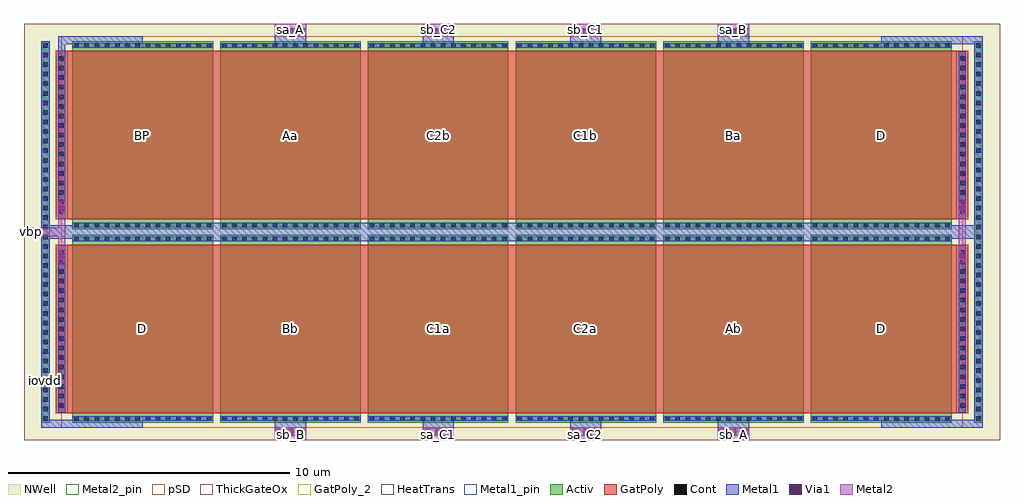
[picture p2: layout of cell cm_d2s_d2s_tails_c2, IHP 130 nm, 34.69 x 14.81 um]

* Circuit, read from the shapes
.subckt cm_d2s_d2s_tails_c2 iovdd sa_A sa_B sa_C1 sa_C2 sb_A sb_B sb_C1 sb_C2 vbp
XM1 iovdd vbp iovdd iovdd sg13_hv_pmos w=5u l=6u m=3
XM2 vbp vbp iovdd iovdd sg13_hv_pmos w=5u l=6u
XM3 iovdd vbp sb_B iovdd sg13_hv_pmos w=5u l=6u
XM4 sa_A vbp iovdd iovdd sg13_hv_pmos w=5u l=6u
XM5 iovdd vbp sa_C1 iovdd sg13_hv_pmos w=5u l=6u
XM6 sb_C2 vbp iovdd iovdd sg13_hv_pmos w=5u l=6u
XM7 iovdd vbp sa_C2 iovdd sg13_hv_pmos w=5u l=6u
XM8 sb_C1 vbp iovdd iovdd sg13_hv_pmos w=5u l=6u
XM9 iovdd vbp sb_A iovdd sg13_hv_pmos w=5u l=6u
XM10 sa_B vbp iovdd iovdd sg13_hv_pmos w=5u l=6u
.ends

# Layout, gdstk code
from math import pi, radians
import gdstk
lib = gdstk.Library(unit=1e-6, precision=1e-09)
def R(c, l, rs):  # rectangles x0, y0, x1, y1
    for r in rs: c.add(gdstk.rectangle(r[:2], r[2:], *l))
def A(c, l, x, y, w, h, nx, ny, dx, dy):  # array of equal rectangles
    R(c, l, [(x+i*dx, y+j*dy, x+i*dx+w, y+j*dy+h) for i in range(nx) for j in range(ny)])
Activ = (1, 0)
GatPoly = (5, 0)
GatPoly_2 = (5, 2)
Cont = (6, 0)
Metal1 = (8, 0)
Metal1_pin = (8, 2)
Metal2 = (10, 0)
Metal2_pin = (10, 2)
pSD = (14, 0)
Via1 = (19, 0)
NWell = (31, 0)
ThickGateOx = (44, 0)
HeatTrans = (51, 0)

cm_d2s_pmoshv_w5_l6 = lib.new_cell('cm_d2s_pmosHV_w5_l6')
R(cm_d2s_pmoshv_w5_l6, Activ, [(0,0,0.3,0.3), (0,0,6.68,5), (6.38,0,6.68,0.3)])
R(cm_d2s_pmoshv_w5_l6, GatPoly, [(0.34,-0.18,6.34,5.18)])
R(cm_d2s_pmoshv_w5_l6, GatPoly_2, [(0.34,-0.18,6.34,5.18)])
A(cm_d2s_pmoshv_w5_l6, Cont, 0.07, 0.07, 0.16, 0.16, 1, 4, 0, 0.36)
A(cm_d2s_pmoshv_w5_l6, Cont, 6.45, 0.07, 0.16, 0.16, 1, 4, 0, 0.36)
A(cm_d2s_pmoshv_w5_l6, Cont, 0.07, 1.515, 0.16, 0.16, 1, 3, 0, 0.36)
A(cm_d2s_pmoshv_w5_l6, Cont, 6.45, 1.515, 0.16, 0.16, 1, 3, 0, 0.36)
A(cm_d2s_pmoshv_w5_l6, Cont, 0.07, 2.6, 0.16, 0.16, 1, 3, 0, 0.36)
A(cm_d2s_pmoshv_w5_l6, Cont, 6.45, 2.6, 0.16, 0.16, 1, 3, 0, 0.36)
A(cm_d2s_pmoshv_w5_l6, Cont, 0.07, 3.685, 0.16, 0.16, 1, 3, 0, 0.36)
A(cm_d2s_pmoshv_w5_l6, Cont, 6.45, 3.685, 0.16, 0.16, 1, 3, 0, 0.36)
R(cm_d2s_pmoshv_w5_l6, Cont, [(0.07,4.77,0.23,4.93), (6.45,4.77,6.61,4.93)])
R(cm_d2s_pmoshv_w5_l6, Metal1, [(0.07,0,0.23,5), (6.45,0,6.61,5)])
R(cm_d2s_pmoshv_w5_l6, Metal1_pin, [(0.07,0,0.23,5), (6.45,0,6.61,5)])
R(cm_d2s_pmoshv_w5_l6, pSD, [(-0.18,-0.4,6.86,5.4)])
R(cm_d2s_pmoshv_w5_l6, NWell, [(-0.62,-0.62,7.3,5.62)])
R(cm_d2s_pmoshv_w5_l6, ThickGateOx, [(-0.62,-0.62,7.3,5.62)])
R(cm_d2s_pmoshv_w5_l6, HeatTrans, [(0.34,-0.18,6.34,5.18)])
cm_d2s_pmoshv_w5_l6.add(gdstk.Label('pmosHV', (3.34,2.5), layer=63, texttype=0))
cm_d2s_pmoshv_w5_l6.add(gdstk.Label('pmos', (3.34,2.5), layer=51, texttype=0))

cm_d2s_d2s_tails_c2 = lib.new_cell('cm_d2s_d2s_tails_c2')
R(cm_d2s_d2s_tails_c2, Activ, [(0.62,0.62,0.92,14.19), (33.77,0.62,34.07,14.19)])
R(cm_d2s_d2s_tails_c2, GatPoly, [(1.12,0.96,1.72,6.96), (32.97,0.96,33.57,6.96), (1.12,7.85,1.72,13.85), (32.97,7.85,33.57,13.85)])
A(cm_d2s_d2s_tails_c2, Cont, 0.69, 0.695, 0.16, 0.16, 1, 40, 0, 0.34)
A(cm_d2s_d2s_tails_c2, Cont, 33.84, 0.695, 0.16, 0.16, 1, 40, 0, 0.34)
A(cm_d2s_d2s_tails_c2, Cont, 1.26, 1.16, 0.16, 0.16, 1, 17, 0, 0.34)
A(cm_d2s_d2s_tails_c2, Cont, 33.27, 1.16, 0.16, 0.16, 1, 17, 0, 0.34)
A(cm_d2s_d2s_tails_c2, Cont, 1.26, 8.05, 0.16, 0.16, 1, 17, 0, 0.34)
A(cm_d2s_d2s_tails_c2, Cont, 33.27, 8.05, 0.16, 0.16, 1, 17, 0, 0.34)
A(cm_d2s_d2s_tails_c2, Metal1, 8.915, 0.155, 1.11, 0.695, 4, 2, 5.25, 13.805)
R(cm_d2s_d2s_tails_c2, Metal1, [(0.62,0.45,4.22,0.74), (30.47,0.45,34.07,0.74), (0.62,0.62,0.92,14.19), (33.77,0.62,34.07,14.19), (1.21,0.98,1.47,6.94), (33.22,0.98,33.48,6.94), (1.72,7.07,32.97,7.74), (0.62,7.16,34.07,7.65), (1.21,7.87,1.47,13.83), (33.22,7.87,33.48,13.83), (1.21,13.83,1.47,14.36), (1.21,14.07,4.22,14.36), (30.47,14.07,34.07,14.36)])
R(cm_d2s_d2s_tails_c2, Metal1_pin, [(0.62,1.12,0.92,3.12)])
A(cm_d2s_d2s_tails_c2, Metal2, 8.915, 0, 1.11, 0.445, 4, 2, 5.25, 14.365)
R(cm_d2s_d2s_tails_c2, Metal2, [(1.21,6.29,1.47,8.52), (33.22,6.29,33.48,8.52), (0,7.255,1.47,7.555)])
A(cm_d2s_d2s_tails_c2, Metal2_pin, 8.915, 0, 1.11, 0.445, 4, 2, 5.25, 14.365)
R(cm_d2s_d2s_tails_c2, Metal2_pin, [(0,7.255,0.5,7.555)])
A(cm_d2s_d2s_tails_c2, Via1, 8.965, 0.205, 0.19, 0.19, 3, 2, 0.41, 14.21)
A(cm_d2s_d2s_tails_c2, Via1, 14.215, 0.205, 0.19, 0.19, 3, 2, 0.41, 14.21)
A(cm_d2s_d2s_tails_c2, Via1, 19.465, 0.205, 0.19, 0.19, 3, 2, 0.41, 14.21)
A(cm_d2s_d2s_tails_c2, Via1, 24.715, 0.205, 0.19, 0.19, 3, 2, 0.41, 14.21)
R(cm_d2s_d2s_tails_c2, Via1, [(1.245,6.45,1.435,6.64), (33.255,6.45,33.445,6.64), (1.245,8.17,1.435,8.36), (33.255,8.17,33.445,8.36)])
R(cm_d2s_d2s_tails_c2, NWell, [(0,0,34.69,14.81)])
R(cm_d2s_d2s_tails_c2, ThickGateOx, [(0,0,34.69,14.81)])
cm_d2s_d2s_tails_c2.add(gdstk.Reference(cm_d2s_pmoshv_w5_l6, (22.47,7.51), rotation=pi/2))
cm_d2s_d2s_tails_c2.add(gdstk.Reference(cm_d2s_pmoshv_w5_l6, (27.72,7.51), rotation=pi/2))
cm_d2s_d2s_tails_c2.add(gdstk.Reference(cm_d2s_pmoshv_w5_l6, (32.97,7.51), rotation=pi/2))
cm_d2s_d2s_tails_c2.add(gdstk.Reference(cm_d2s_pmoshv_w5_l6, (1.72,7.3), rotation=3*pi/2))
cm_d2s_d2s_tails_c2.add(gdstk.Reference(cm_d2s_pmoshv_w5_l6, (6.97,7.3), rotation=3*pi/2))
cm_d2s_d2s_tails_c2.add(gdstk.Reference(cm_d2s_pmoshv_w5_l6, (12.22,7.3), rotation=3*pi/2))
cm_d2s_d2s_tails_c2.add(gdstk.Reference(cm_d2s_pmoshv_w5_l6, (1.72,7.51), rotation=pi/2, x_reflection=True))
cm_d2s_d2s_tails_c2.add(gdstk.Reference(cm_d2s_pmoshv_w5_l6, (6.97,7.51), rotation=pi/2, x_reflection=True))
cm_d2s_d2s_tails_c2.add(gdstk.Reference(cm_d2s_pmoshv_w5_l6, (12.22,7.51), rotation=pi/2, x_reflection=True))
cm_d2s_d2s_tails_c2.add(gdstk.Reference(cm_d2s_pmoshv_w5_l6, (22.47,7.3), rotation=3*pi/2, x_reflection=True))
cm_d2s_d2s_tails_c2.add(gdstk.Reference(cm_d2s_pmoshv_w5_l6, (27.72,7.3), rotation=3*pi/2, x_reflection=True))
cm_d2s_d2s_tails_c2.add(gdstk.Reference(cm_d2s_pmoshv_w5_l6, (32.97,7.3), rotation=3*pi/2, x_reflection=True))
cm_d2s_d2s_tails_c2.add(gdstk.Label('D', (4.22,3.96), layer=63, texttype=0))
cm_d2s_d2s_tails_c2.add(gdstk.Label('Bb', (9.47,3.96), layer=63, texttype=0))
cm_d2s_d2s_tails_c2.add(gdstk.Label('C1a', (14.72,3.96), layer=63, texttype=0))
cm_d2s_d2s_tails_c2.add(gdstk.Label('C2a', (19.97,3.96), layer=63, texttype=0))
cm_d2s_d2s_tails_c2.add(gdstk.Label('Ab', (25.22,3.96), layer=63, texttype=0))
cm_d2s_d2s_tails_c2.add(gdstk.Label('D', (30.47,3.96), layer=63, texttype=0))
cm_d2s_d2s_tails_c2.add(gdstk.Label('BP', (4.22,10.85), layer=63, texttype=0))
cm_d2s_d2s_tails_c2.add(gdstk.Label('Aa', (9.47,10.85), layer=63, texttype=0))
cm_d2s_d2s_tails_c2.add(gdstk.Label('C2b', (14.72,10.85), layer=63, texttype=0))
cm_d2s_d2s_tails_c2.add(gdstk.Label('C1b', (19.97,10.85), layer=63, texttype=0))
cm_d2s_d2s_tails_c2.add(gdstk.Label('Ba', (25.22,10.85), layer=63, texttype=0))
cm_d2s_d2s_tails_c2.add(gdstk.Label('D', (30.47,10.85), layer=63, texttype=0))
cm_d2s_d2s_tails_c2.add(gdstk.Label('vbp', (0.25,7.405), layer=10, texttype=25))
cm_d2s_d2s_tails_c2.add(gdstk.Label('sb_B', (9.47,0.22), layer=10, texttype=25))
cm_d2s_d2s_tails_c2.add(gdstk.Label('sa_C1', (14.72,0.22), layer=10, texttype=25))
cm_d2s_d2s_tails_c2.add(gdstk.Label('sa_C2', (19.97,0.22), layer=10, texttype=25))
cm_d2s_d2s_tails_c2.add(gdstk.Label('sb_A', (25.22,0.22), layer=10, texttype=25))
cm_d2s_d2s_tails_c2.add(gdstk.Label('sa_A', (9.47,14.59), layer=10, texttype=25))
cm_d2s_d2s_tails_c2.add(gdstk.Label('sb_C2', (14.72,14.59), layer=10, texttype=25))
cm_d2s_d2s_tails_c2.add(gdstk.Label('sb_C1', (19.97,14.59), layer=10, texttype=25))
cm_d2s_d2s_tails_c2.add(gdstk.Label('sa_B', (25.22,14.59), layer=10, texttype=25))
cm_d2s_d2s_tails_c2.add(gdstk.Label('iovdd', (0.77,2.12), layer=8, texttype=25))

lib.write_gds('cm_d2s_d2s_tails_c2.gds')
